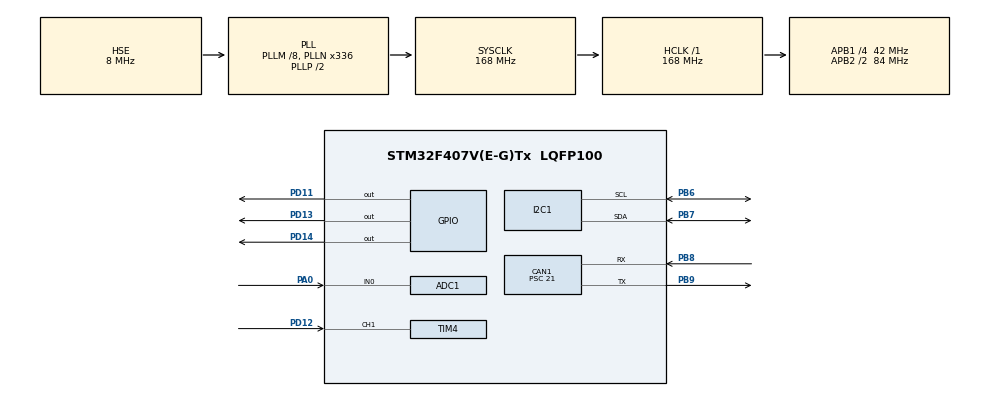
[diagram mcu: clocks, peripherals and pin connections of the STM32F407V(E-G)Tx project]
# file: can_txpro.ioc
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ADC1.Channel-0\#ChannelRegularConversion=ADC_CHANNEL_0
ADC1.NbrOfConversionFlag=1
ADC1.Rank-0\#ChannelRegularConversion=1
ADC1.SamplingTime-0\#ChannelRegularConversion=ADC_SAMPLETIME_3CYCLES
ADC1.master=1
CAN1.BS1=CAN_BS1_2TQ
CAN1.CalculateBaudRate=500000
CAN1.CalculateTimeBit=2000
CAN1.CalculateTimeQuantum=500.0
CAN1.Prescaler=21
Mcu.Family=STM32F4
Mcu.Name=STM32F407V(E-G)Tx
Mcu.Package=LQFP100
NVIC.PriorityGroup=NVIC_PRIORITYGROUP_0
PA0-WKUP.Signal=ADCx_IN0
PA13.Mode=Serial_Wire
PA13.Signal=SYS_JTMS-SWDIO
PA14.Mode=Serial_Wire
PA14.Signal=SYS_JTCK-SWCLK
PB6.Mode=I2C
PB6.Signal=I2C1_SCL
PB7.Mode=I2C
PB7.Signal=I2C1_SDA
PB8.Mode=CAN_Activate
PB8.Signal=CAN1_RX
PB9.Mode=CAN_Activate
PB9.Signal=CAN1_TX
PD11.Signal=GPIO_Output
PD12.Signal=S_TIM4_CH1
PD13.Signal=GPIO_Output
PD14.Signal=GPIO_Output
PH0-OSC_IN.Mode=HSE-External-Oscillator
PH0-OSC_IN.Signal=RCC_OSC_IN
PH1-OSC_OUT.Mode=HSE-External-Oscillator
PH1-OSC_OUT.Signal=RCC_OSC_OUT
ProjectManager.HeapSize=0x200
ProjectManager.StackSize=0x400
ProjectManager.TargetToolchain=STM32CubeIDE
RCC.48MHZClocksFreq_Value=48000000
RCC.AHBFreq_Value=168000000
RCC.APB1CLKDivider=RCC_HCLK_DIV4
RCC.APB1Freq_Value=42000000
RCC.APB1TimFreq_Value=84000000
RCC.APB2CLKDivider=RCC_HCLK_DIV2
RCC.APB2Freq_Value=84000000
RCC.APB2TimFreq_Value=168000000
RCC.CortexFreq_Value=168000000
RCC.HCLKFreq_Value=168000000
RCC.HSE_VALUE=8000000
RCC.HSI_VALUE=16000000
RCC.LSE_VALUE=32768
RCC.PLLM=8
RCC.PLLN=336
RCC.PLLQ=7
RCC.PLLSourceVirtual=RCC_PLLSOURCE_HSE
RCC.SYSCLKFreq_VALUE=168000000
RCC.SYSCLKSource=RCC_SYSCLKSOURCE_PLLCLK
RCC.VCOOutputFreq_Value=336000000
SH.ADCx_IN0.0=ADC1_IN0,IN0
SH.S_TIM4_CH1.0=TIM4_CH1,Input_Capture1_from_TI1
TIM1.Prescaler=71
TIM4.Channel-Input_Capture1_from_TI1=TIM_CHANNEL_1
TIM4.Prescaler=84-1
VP_TIM1_VS_ClockSourceINT.Mode=Internal
VP_TIM4_VS_ClockSourceINT.Mode=Internal
board=STM32F407G-DISC1

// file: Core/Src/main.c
/* USER CODE BEGIN Header */
/**
 ******************************************************************************
 * @file           : main.c
 * @brief          : Main program body
 ******************************************************************************
 * @attention
 * @author Chetna sahu
 * Copyright (c) 2025 STMicroelectronics.
 * All rights reserved.
 *
 * This software is licensed under terms that can be found in the LICENSE file
 * in the root directory of this software component.
 * If no LICENSE file comes with this software, it is provided AS-IS.
 *
 ******************************************************************************
 */
/* USER CODE END Header */
#include "main.h"

/* USER CODE BEGIN Includes */
#include "lcd16x2_i2c.h"
#include <stdio.h>
#include <string.h>
/* USER CODE END Includes */

/* USER CODE BEGIN PD */
#define ULTRASONIC_TRIGGER_PORT		GPIOD
#define ULTRASONIC_TRIGGER_PIN		GPIO_PIN_11
#define ULTRASONIC_ECHO_PIN_IC		&htim4			//GPIO_PIN_12
// dht22
#define DHT22_PORT GPIOB
#define DHT22_PIN GPIO_PIN_9
/* USER CODE END PD */

ADC_HandleTypeDef hadc1;

CAN_HandleTypeDef hcan1;

I2C_HandleTypeDef hi2c1;

TIM_HandleTypeDef htim1;
TIM_HandleTypeDef htim4;

/* USER CODE BEGIN PV */
uint32_t lastSentTime = 0;
CAN_TxHeaderTypeDef TxHeader1, TxHeader2, TxHeader3;
uint8_t TxData1[8], TxData2[8], TxData3[8];
uint32_t TxMailbox1, TxMailbox2, TxMailbox3;
uint16_t distance = 0; //ultrasonic
uint8_t isReadingFinished = 0;
uint8_t isRisingCaptured = 0;
uint32_t InputCaptureValue_1 = 0;
uint32_t InputCaptureValue_2 = 0;
uint32_t InputCaptureDifference = 0;
int adcVal; //rain sensor
uint8_t RH1, RH2, TC1, TC2, SUM, CHECK;  //Dht22
uint32_t pMillis, cMillis;
float tCelsius = 0;
int tFahrenheit = 0;
int RH = 0;
/* USER CODE END PV */

void SystemClock_Config(void);
static void MX_GPIO_Init(void);
static void MX_ADC1_Init(void);
static void MX_CAN1_Init(void);
static void MX_I2C1_Init(void);
static void MX_TIM4_Init(void);
static void MX_TIM1_Init(void);

/* USER CODE BEGIN 0 */
//rain
void Rain_sensor(void) {

	HAL_ADC_Start(&hadc1);
	HAL_ADC_PollForConversion(&hadc1, HAL_MAX_DELAY);
	adcVal = HAL_ADC_GetValue(&hadc1);
	HAL_ADC_Stop(&hadc1);
}
//ultrasonic
void Ultrasonic_distance(void) {
	//Send Trigger Signal to ultrasonic trigger pin
	HAL_GPIO_WritePin(ULTRASONIC_TRIGGER_PORT, ULTRASONIC_TRIGGER_PIN,
			GPIO_PIN_SET);
	HAL_Delay(10);
	HAL_GPIO_WritePin(ULTRASONIC_TRIGGER_PORT, ULTRASONIC_TRIGGER_PIN,
			GPIO_PIN_RESET);
	//Enable Timer counter
	__HAL_TIM_ENABLE_IT(ULTRASONIC_ECHO_PIN_IC, TIM_IT_CC1);
}

void HAL_TIM_IC_CaptureCallback(TIM_HandleTypeDef *htim) {
	//Capture Rising Edge
	if (isRisingCaptured == 0) {
		InputCaptureValue_1 = HAL_TIM_ReadCapturedValue(&htim4, TIM_CHANNEL_1);
		isRisingCaptured = 1;
		__HAL_TIM_SET_CAPTUREPOLARITY(&htim4, TIM_CHANNEL_1,
				TIM_INPUTCHANNELPOLARITY_FALLING);
	}
	//Capture Falling Edge
	else if (isRisingCaptured == 1) {
		InputCaptureValue_2 = HAL_TIM_ReadCapturedValue(&htim4, TIM_CHANNEL_1);
		__HAL_TIM_SET_COUNTER(&htim4, 0);

		if (InputCaptureValue_2 > InputCaptureValue_1) {
			InputCaptureDifference = InputCaptureValue_2 - InputCaptureValue_1;
		} else if (InputCaptureValue_1 > InputCaptureValue_2) {
			InputCaptureDifference = (0xFFFF - InputCaptureValue_1)
					+ InputCaptureValue_2;
		}

		distance = InputCaptureDifference * 0.0173;

		isReadingFinished = 1;

		isRisingCaptured = 0;

		__HAL_TIM_SET_CAPTUREPOLARITY(&htim4, TIM_CHANNEL_1,
				TIM_INPUTCHANNELPOLARITY_RISING);
		__HAL_TIM_DISABLE_IT(&htim4, TIM_IT_CC1);

	}

}
//DHT22

void microDelay(uint16_t delay) {
	__HAL_TIM_SET_COUNTER(&htim1, 0);
	while (__HAL_TIM_GET_COUNTER(&htim1) < delay)
		;
}

uint8_t DHT22_Start(void) {
	uint8_t Response = 0;
	GPIO_InitTypeDef GPIO_InitStructPrivate = { 0 };
	GPIO_InitStructPrivate.Pin = DHT22_PIN;
	GPIO_InitStructPrivate.Mode = GPIO_MODE_OUTPUT_PP;
	GPIO_InitStructPrivate.Speed = GPIO_SPEED_FREQ_LOW;
	GPIO_InitStructPrivate.Pull = GPIO_NOPULL;
	HAL_GPIO_Init(DHT22_PORT, &GPIO_InitStructPrivate); // set the pin as output
	HAL_GPIO_WritePin(DHT22_PORT, DHT22_PIN, 0);   // pull the pin low
	microDelay(1300);   // wait for 1300us
	HAL_GPIO_WritePin(DHT22_PORT, DHT22_PIN, 1);   // pull the pin high
	microDelay(30);   // wait for 30us
	GPIO_InitStructPrivate.Mode = GPIO_MODE_INPUT;
	GPIO_InitStructPrivate.Pull = GPIO_PULLUP;
	HAL_GPIO_Init(DHT22_PORT, &GPIO_InitStructPrivate); // set the pin as input
	microDelay(40);
	if (!(HAL_GPIO_ReadPin(DHT22_PORT, DHT22_PIN))) {
		microDelay(80);
		if ((HAL_GPIO_ReadPin(DHT22_PORT, DHT22_PIN)))
			Response = 1;
	}
	pMillis = HAL_GetTick();
	cMillis = HAL_GetTick();
	while ((HAL_GPIO_ReadPin(DHT22_PORT, DHT22_PIN)) && pMillis + 2 > cMillis) {
		cMillis = HAL_GetTick();
	}
	return Response;
}

uint8_t DHT22_Read(void) {
	uint8_t a, b;
	for (a = 0; a < 8; a++) {
		pMillis = HAL_GetTick();
		cMillis = HAL_GetTick();
		while (!(HAL_GPIO_ReadPin(DHT22_PORT, DHT22_PIN))
				&& pMillis + 2 > cMillis) {  // wait for the pin to go high
			cMillis = HAL_GetTick();
		}
		microDelay(40);   // wait for 40 us
		if (!(HAL_GPIO_ReadPin(DHT22_PORT, DHT22_PIN)))   // if the pin is low
			b &= ~(1 << (7 - a));
		else
			b |= (1 << (7 - a));
		pMillis = HAL_GetTick();
		cMillis = HAL_GetTick();
		while ((HAL_GPIO_ReadPin(DHT22_PORT, DHT22_PIN))
				&& pMillis + 2 > cMillis) {  // wait for the pin to go low
			cMillis = HAL_GetTick();
		}
	}
	return b;
}

void Read_dht22(void) {
	if (DHT22_Start()) {
		RH1 = DHT22_Read(); // First 8bits of humidity
		RH2 = DHT22_Read(); // Second 8bits of Relative humidity
		TC1 = DHT22_Read(); // First 8bits of Celsius
		TC2 = DHT22_Read(); // Second 8bits of Celsius
		SUM = DHT22_Read(); // Check sum
		CHECK = RH1 + RH2 + TC1 + TC2;
		if (CHECK == SUM) {
			if (TC1 > 127) // If TC1=10000000, negative temperature
					{
				tCelsius = (float) TC2 / 10 * (-1);
			} else {
				tCelsius = (float) ((TC1 << 8) | TC2) / 10;
			}
			//tFahrenheit = (float) (tCelsius * 9 / 5 + 32);
			tFahrenheit = (int) (tCelsius * 9 / 5 + 32) * 10;
			RH = (int) ((RH1 << 8) | RH2) / 10;
			//RH = (int) ((RH1 << 8) | RH2);
		}
	}
}

/* USER CODE END 0 */

int main(void) {

	/* USER CODE BEGIN 1 */

	char str[32];
	char str0[64];
	char str1[64];
	/* USER CODE END 1 */

	/* MCU Configuration--------------------------------------------------------*/

	/* Reset of all peripherals, Initializes the Flash interface and the Systick. */
	HAL_Init();

	/* Configure the system clock */
	SystemClock_Config();

	/* Initialize all configured peripherals */
	MX_GPIO_Init();
	MX_ADC1_Init();
	MX_CAN1_Init();
	MX_I2C1_Init();
	MX_TIM4_Init();
	MX_TIM1_Init();
	/* USER CODE BEGIN 2 */
	HAL_CAN_Start(&hcan1);
	HAL_TIM_IC_Start_IT(&htim4, TIM_CHANNEL_1); //timer
	int ret = lcd16x2_i2c_init(&hi2c1);
	HAL_TIM_Base_Start(&htim1); //dht22
	/* USER CODE END 2 */

	/* Infinite loop */
	/* USER CODE BEGIN WHILE */
	while (1) {
		if (HAL_GetTick() - lastSentTime > 500) {
			Ultrasonic_distance();
			if (distance > 20 && distance < 120) {
				sprintf(str, "Distance : %d cms \r \n", distance);
				if (ret) {
					lcd16x2_i2c_setCursor(0, 0);
					lcd16x2_i2c_printf(str);
				}
				TxHeader1.StdId = 0x0A9;
				TxHeader1.ExtId = 0x0;
				TxHeader1.IDE = CAN_ID_STD;
				TxHeader1.RTR = CAN_RTR_DATA;
				TxHeader1.DLC = 2;
				TxData1[0] = (uint8_t) (distance & 0xFF);
				TxData1[1] = (uint8_t) ((distance >> 8) & 0xFF);

				if (HAL_CAN_AddTxMessage(&hcan1, &TxHeader1, TxData1,
						&TxMailbox1) != HAL_OK) {
					Error_Handler();
				}
			} else if (adcVal >= 1500 && adcVal <= 4000) {
				Rain_sensor();
				sprintf(str, "Rain Detected: %d \r\n", adcVal);
				if (ret) {
					lcd16x2_i2c_setCursor(0, 0);
					lcd16x2_i2c_printf(str);
				}
				TxHeader2.StdId = 0x0AA;
				TxHeader2.ExtId = 0x0;
				TxHeader2.IDE = CAN_ID_STD;
				TxHeader2.RTR = CAN_RTR_DATA;
				TxHeader2.DLC = 2;
				TxData2[0] = (uint8_t) (adcVal & 0xFF);
				TxData2[1] = (uint8_t) ((adcVal >> 8) & 0xFF);

				if (HAL_CAN_AddTxMessage(&hcan1, &TxHeader2, TxData2,
						&TxMailbox2) != HAL_OK) {
					Error_Handler();
				}
			} else {
				Read_dht22();
				DHT22_Read();
				sprintf(str0, "temperature : %d C \r \n", (int) tFahrenheit);
			//	sprintf(str0, "temperature : %d C \r \n", 28);
				sprintf(str1, "humidity : %d \r \n", (int) RH);
				//sprintf(str1, "humidity : %d \r \n",26);
				if (ret) {
					lcd16x2_i2c_setCursor(0, 0);
					lcd16x2_i2c_printf(str0);
					lcd16x2_i2c_setCursor(1, 0);
					lcd16x2_i2c_printf(str1);
				}
				TxHeader3.StdId = 0x0AB;
				TxHeader3.ExtId = 0x0;
				TxHeader3.IDE = CAN_ID_STD;
				TxHeader3.RTR = CAN_RTR_DATA;
				TxHeader3.DLC = 4;
				TxData3[0] = (uint8_t) (tFahrenheit & 0xFF);
				TxData3[1] = (uint8_t) ((tFahrenheit >> 8) & 0xFF);
				TxData3[2] = (uint8_t) (RH & 0xFF);
				TxData3[3] = (uint8_t) ((RH >> 8) & 0xFF);

				if (HAL_CAN_AddTxMessage(&hcan1, &TxHeader3, TxData3,
						&TxMailbox3) != HAL_OK) {
					Error_Handler();
				}
			}

		}
		/* USER CODE END WHILE */

	}
}

void SystemClock_Config(void) {
	RCC_OscInitTypeDef RCC_OscInitStruct = { 0 };
	RCC_ClkInitTypeDef RCC_ClkInitStruct = { 0 };

	/** Configure the main internal regulator output voltage
	 */
	__HAL_RCC_PWR_CLK_ENABLE();
	__HAL_PWR_VOLTAGESCALING_CONFIG(PWR_REGULATOR_VOLTAGE_SCALE1);

	/** Initializes the RCC Oscillators according to the specified parameters
	 * in the RCC_OscInitTypeDef structure.
	 */
	RCC_OscInitStruct.OscillatorType = RCC_OSCILLATORTYPE_HSE;
	RCC_OscInitStruct.HSEState = RCC_HSE_ON;
	RCC_OscInitStruct.PLL.PLLState = RCC_PLL_ON;
	RCC_OscInitStruct.PLL.PLLSource = RCC_PLLSOURCE_HSE;
	RCC_OscInitStruct.PLL.PLLM = 8;
	RCC_OscInitStruct.PLL.PLLN = 336;
	RCC_OscInitStruct.PLL.PLLP = RCC_PLLP_DIV2;
	RCC_OscInitStruct.PLL.PLLQ = 7;
	if (HAL_RCC_OscConfig(&RCC_OscInitStruct) != HAL_OK) {
		Error_Handler();
	}

	/** Initializes the CPU, AHB and APB buses clocks
	 */
	RCC_ClkInitStruct.ClockType = RCC_CLOCKTYPE_HCLK | RCC_CLOCKTYPE_SYSCLK
			| RCC_CLOCKTYPE_PCLK1 | RCC_CLOCKTYPE_PCLK2;
	RCC_ClkInitStruct.SYSCLKSource = RCC_SYSCLKSOURCE_PLLCLK;
	RCC_ClkInitStruct.AHBCLKDivider = RCC_SYSCLK_DIV1;
	RCC_ClkInitStruct.APB1CLKDivider = RCC_HCLK_DIV4;
	RCC_ClkInitStruct.APB2CLKDivider = RCC_HCLK_DIV2;

	if (HAL_RCC_ClockConfig(&RCC_ClkInitStruct, FLASH_LATENCY_5) != HAL_OK) {
		Error_Handler();
	}
}

static void MX_ADC1_Init(void) {

	ADC_ChannelConfTypeDef sConfig = { 0 };

	/** Configure the global features of the ADC (Clock, Resolution, Data Alignment and number of conversion)
	 */
	hadc1.Instance = ADC1;
	hadc1.Init.ClockPrescaler = ADC_CLOCK_SYNC_PCLK_DIV4;
	hadc1.Init.Resolution = ADC_RESOLUTION_12B;
	hadc1.Init.ScanConvMode = DISABLE;
	hadc1.Init.ContinuousConvMode = DISABLE;
	hadc1.Init.DiscontinuousConvMode = DISABLE;
	hadc1.Init.ExternalTrigConvEdge = ADC_EXTERNALTRIGCONVEDGE_NONE;
	hadc1.Init.ExternalTrigConv = ADC_SOFTWARE_START;
	hadc1.Init.DataAlign = ADC_DATAALIGN_RIGHT;
	hadc1.Init.NbrOfConversion = 1;
	hadc1.Init.DMAContinuousRequests = DISABLE;
	hadc1.Init.EOCSelection = ADC_EOC_SINGLE_CONV;
	if (HAL_ADC_Init(&hadc1) != HAL_OK) {
		Error_Handler();
	}

	/** Configure for the selected ADC regular channel its corresponding rank in the sequencer and its sample time.
	 */
	sConfig.Channel = ADC_CHANNEL_0;
	sConfig.Rank = 1;
	sConfig.SamplingTime = ADC_SAMPLETIME_3CYCLES;
	if (HAL_ADC_ConfigChannel(&hadc1, &sConfig) != HAL_OK) {
		Error_Handler();
	}

}

static void MX_CAN1_Init(void) {

	hcan1.Instance = CAN1;
	hcan1.Init.Prescaler = 21;
	hcan1.Init.Mode = CAN_MODE_NORMAL;
	hcan1.Init.SyncJumpWidth = CAN_SJW_1TQ;
	hcan1.Init.TimeSeg1 = CAN_BS1_2TQ;
	hcan1.Init.TimeSeg2 = CAN_BS2_1TQ;
	hcan1.Init.TimeTriggeredMode = DISABLE;
	hcan1.Init.AutoBusOff = DISABLE;
	hcan1.Init.AutoWakeUp = DISABLE;
	hcan1.Init.AutoRetransmission = DISABLE;
	hcan1.Init.ReceiveFifoLocked = DISABLE;
	hcan1.Init.TransmitFifoPriority = DISABLE;
	if (HAL_CAN_Init(&hcan1) != HAL_OK) {
		Error_Handler();
	}

}

static void MX_I2C1_Init(void) {

	hi2c1.Instance = I2C1;
	hi2c1.Init.ClockSpeed = 100000;
	hi2c1.Init.DutyCycle = I2C_DUTYCYCLE_2;
	hi2c1.Init.OwnAddress1 = 0;
	hi2c1.Init.AddressingMode = I2C_ADDRESSINGMODE_7BIT;
	hi2c1.Init.DualAddressMode = I2C_DUALADDRESS_DISABLE;
	hi2c1.Init.OwnAddress2 = 0;
	hi2c1.Init.GeneralCallMode = I2C_GENERALCALL_DISABLE;
	hi2c1.Init.NoStretchMode = I2C_NOSTRETCH_DISABLE;
	if (HAL_I2C_Init(&hi2c1) != HAL_OK) {
		Error_Handler();
	}

}

static void MX_TIM1_Init(void) {

	TIM_ClockConfigTypeDef sClockSourceConfig = { 0 };
	TIM_MasterConfigTypeDef sMasterConfig = { 0 };

	htim1.Instance = TIM1;
	htim1.Init.Prescaler = 71;
	htim1.Init.CounterMode = TIM_COUNTERMODE_UP;
	htim1.Init.Period = 65535;
	htim1.Init.ClockDivision = TIM_CLOCKDIVISION_DIV1;
	htim1.Init.RepetitionCounter = 0;
	htim1.Init.AutoReloadPreload = TIM_AUTORELOAD_PRELOAD_DISABLE;
	if (HAL_TIM_Base_Init(&htim1) != HAL_OK) {
		Error_Handler();
	}
	sClockSourceConfig.ClockSource = TIM_CLOCKSOURCE_INTERNAL;
	if (HAL_TIM_ConfigClockSource(&htim1, &sClockSourceConfig) != HAL_OK) {
		Error_Handler();
	}
	sMasterConfig.MasterOutputTrigger = TIM_TRGO_RESET;
	sMasterConfig.MasterSlaveMode = TIM_MASTERSLAVEMODE_DISABLE;
	if (HAL_TIMEx_MasterConfigSynchronization(&htim1, &sMasterConfig)
			!= HAL_OK) {
		Error_Handler();
	}

}

static void MX_TIM4_Init(void) {

	TIM_ClockConfigTypeDef sClockSourceConfig = { 0 };
	TIM_MasterConfigTypeDef sMasterConfig = { 0 };
	TIM_IC_InitTypeDef sConfigIC = { 0 };

	htim4.Instance = TIM4;
	htim4.Init.Prescaler = 84 - 1;
	htim4.Init.CounterMode = TIM_COUNTERMODE_UP;
	htim4.Init.Period = 65535;
	htim4.Init.ClockDivision = TIM_CLOCKDIVISION_DIV1;
	htim4.Init.AutoReloadPreload = TIM_AUTORELOAD_PRELOAD_DISABLE;
	if (HAL_TIM_Base_Init(&htim4) != HAL_OK) {
		Error_Handler();
	}
	sClockSourceConfig.ClockSource = TIM_CLOCKSOURCE_INTERNAL;
	if (HAL_TIM_ConfigClockSource(&htim4, &sClockSourceConfig) != HAL_OK) {
		Error_Handler();
	}
	if (HAL_TIM_IC_Init(&htim4) != HAL_OK) {
		Error_Handler();
	}
	sMasterConfig.MasterOutputTrigger = TIM_TRGO_RESET;
	sMasterConfig.MasterSlaveMode = TIM_MASTERSLAVEMODE_DISABLE;
	if (HAL_TIMEx_MasterConfigSynchronization(&htim4, &sMasterConfig)
			!= HAL_OK) {
		Error_Handler();
	}
	sConfigIC.ICPolarity = TIM_INPUTCHANNELPOLARITY_RISING;
	sConfigIC.ICSelection = TIM_ICSELECTION_DIRECTTI;
	sConfigIC.ICPrescaler = TIM_ICPSC_DIV1;
	sConfigIC.ICFilter = 0;
	if (HAL_TIM_IC_ConfigChannel(&htim4, &sConfigIC, TIM_CHANNEL_1) != HAL_OK) {
		Error_Handler();
	}

}

static void MX_GPIO_Init(void) {
	GPIO_InitTypeDef GPIO_InitStruct = { 0 };

	/* GPIO Ports Clock Enable */
	__HAL_RCC_GPIOH_CLK_ENABLE();
	__HAL_RCC_GPIOA_CLK_ENABLE();
	__HAL_RCC_GPIOD_CLK_ENABLE();
	__HAL_RCC_GPIOB_CLK_ENABLE();

	/*Configure GPIO pin Output Level */
	HAL_GPIO_WritePin(GPIOD, GPIO_PIN_11 | GPIO_PIN_13 | GPIO_PIN_14,
			GPIO_PIN_RESET);

	/*Configure GPIO pins : PD11 PD13 PD14 */
	GPIO_InitStruct.Pin = GPIO_PIN_11 | GPIO_PIN_13 | GPIO_PIN_14;
	GPIO_InitStruct.Mode = GPIO_MODE_OUTPUT_PP;
	GPIO_InitStruct.Pull = GPIO_NOPULL;
	GPIO_InitStruct.Speed = GPIO_SPEED_FREQ_LOW;
	HAL_GPIO_Init(GPIOD, &GPIO_InitStruct);

}

void Error_Handler(void) {
	__disable_irq();
	while (1) {
	}
}
